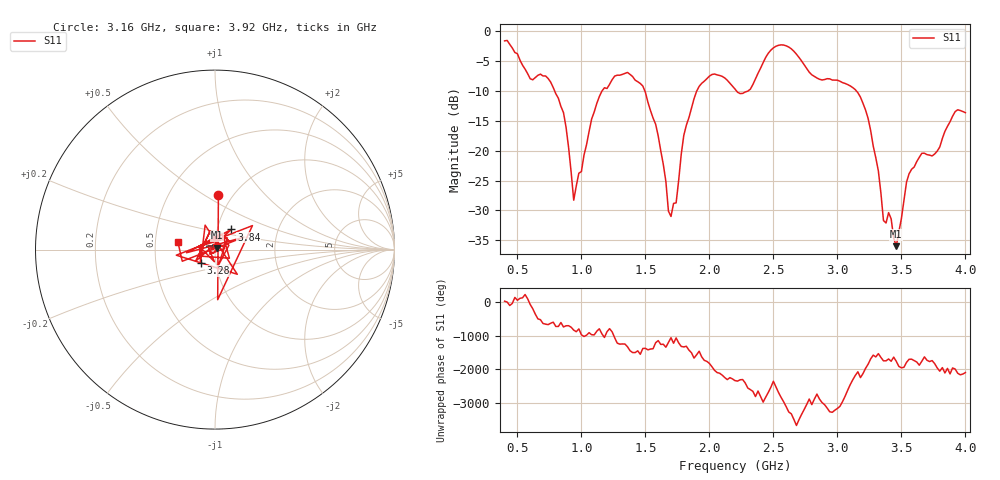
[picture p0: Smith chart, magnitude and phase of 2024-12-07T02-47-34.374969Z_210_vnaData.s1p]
!Created with skrf (http://scikit-rf.org).
# Hz S RI R 50.0
!freq ReS11 ImS11
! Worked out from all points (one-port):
!   181 points, 400 MHz to 4 GHz, reference 50 ohm
!   lowest |S11| = -36.0 dB at 3.46 GHz (marker M1), VSWR 1.03, Z = 51.3 + j1.01 ohm
!   |S11| at or under -10 dB: 790 MHz to 1.163 GHz (372.9 MHz wide, 38.2 % of centre); 1.495 GHz to 1.903 GHz (407.9 MHz wide, 24 % of centre); 3.146 GHz to end of sweep (the widest 3 of 4)
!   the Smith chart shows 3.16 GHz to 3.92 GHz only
!   S11 on the Smith chart (normalised r, x): 3.16 GHz: 0.86, +0.57; 3.28 GHz: 0.84, -0.13; 3.84 GHz: 1.17, +0.27; 3.92 GHz: 0.65, +0.06
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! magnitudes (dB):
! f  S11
! 400 MHz  -1.7
! 600 MHz  -8.0
! 740 MHz  -8.0
! 860 MHz  -13.7
! 940 MHz  -28.3
! 1.12 GHz  -12.1
! 1.3 GHz  -7.4
! 1.5 GHz  -10.3
! 1.6 GHz  -17.6
! 1.7 GHz  -31.0
! 1.76 GHz  -25.0
! 1.8 GHz  -17.5
! 1.92 GHz  -9.3
! 2.04 GHz  -7.2
! 2.2 GHz  -9.7
! 2.32 GHz  -9.8
! 2.5 GHz  -2.9
! 2.66 GHz  -3.4
! 3.1 GHz  -9.2
! 3.16 GHz  -10.4
! 3.28 GHz  -19.3
! 3.36 GHz  -31.7
! 3.4 GHz  -30.4
! 3.46 GHz  -36.0
! 3.56 GHz  -23.9
! 3.84 GHz  -16.8
! 3.92 GHz  -13.5
! 4 GHz  -13.7
